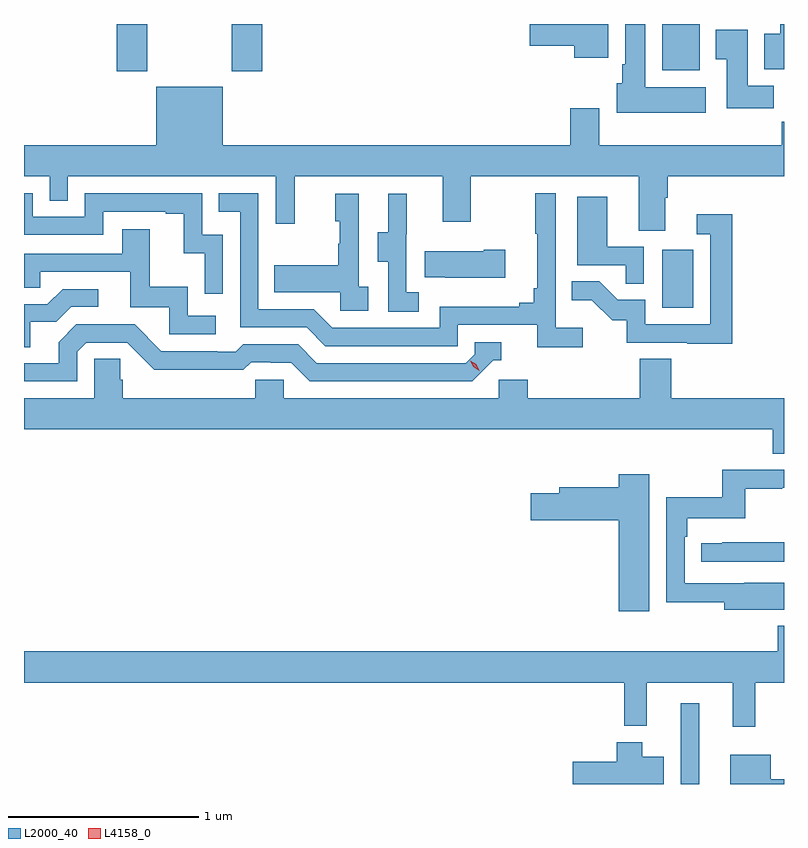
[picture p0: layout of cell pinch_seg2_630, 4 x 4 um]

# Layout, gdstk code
import gdstk
lib = gdstk.Library(unit=1e-6, precision=1e-09)
def R(c, l, rs):  # rectangles x0, y0, x1, y1
    for r in rs: c.add(gdstk.rectangle(r[:2], r[2:], *l))
def P(c, l, *ps):  # polygons
    for p in ps: c.add(gdstk.Polygon(p, *l))
L2000_40 = (2000, 40)
L4158_0 = (4158, 0)

pinch_seg2_630 = lib.new_cell('pinch_seg2_630')
R(pinch_seg2_630, L2000_40, [(1019.937,600.482,1020.034,600.907), (1019.84,602.988,1020.004,603.295), (1016.969,604.233,1017.129,604.482), (1017.574,604.233,1017.734,604.482), (1019.84,604.238,1020.037,604.48)])
P(pinch_seg2_630, L2000_40, [(1019.557,604.482),(1019.144,604.482),(1019.144,604.367),(1019.378,604.367),(1019.378,604.304),(1019.557,604.304)],
  [(1020.481,604.482),(1020.461,604.482),(1020.461,604.432),(1020.377,604.432),(1020.377,604.244),(1020.481,604.244)],
  [(1020.07,604.15),(1019.752,604.15),(1019.752,604.482),(1019.645,604.482),(1019.645,604.27),(1019.63,604.27),(1019.63,604.17),(1019.6,604.17),(1019.6,604.016),(1020.07,604.016)],
  [(1020.428,604.156),(1020.289,604.156),(1020.289,604.453),(1020.122,604.453),(1020.122,604.297),(1020.179,604.297),(1020.179,604.038),(1020.428,604.038)],
  [(1019.857,603.568),(1019.87,603.568),(1019.87,603.68),(1020.481,603.68),(1020.481,603.968),(1020.469,603.968),(1020.469,603.844),(1019.509,603.844),(1019.509,604.039),(1019.357,604.039),(1019.357,603.844),(1017.526,603.844),(1017.526,604.153),(1017.176,604.153),(1017.176,603.844),(1016.481,603.844),(1016.481,603.68),(1016.616,603.68),(1016.616,603.553),(1016.712,603.553),(1016.712,603.68),(1017.807,603.68),(1017.807,603.432),(1017.905,603.432),(1017.905,603.68),(1018.685,603.68),(1018.685,603.441),(1018.833,603.441),(1018.833,603.68),(1019.717,603.68),(1019.717,603.394),(1019.857,603.394)],
  [(1019.422,602.884),(1019.28,602.884),(1019.28,603.592),(1019.172,603.592),(1019.172,603.379),(1019.183,603.379),(1019.183,603.091),(1019.164,603.091),(1019.164,603.014),(1019.087,603.014),(1019.087,602.995),(1018.668,602.995),(1018.668,602.883),(1018.104,602.883),(1018.005,602.982),(1017.714,602.982),(1017.714,603.591),(1017.505,603.591),(1017.505,603.495),(1017.618,603.495),(1017.618,602.886),(1017.968,602.886),(1018.067,602.787),(1018.764,602.787),(1018.764,602.898),(1019.183,602.898),(1019.183,602.782),(1019.422,602.782)],
  [(1017.528,603.372),(1017.42,603.372),(1017.42,603.591),(1016.802,603.591),(1016.802,603.468),(1016.526,603.468),(1016.526,603.591),(1016.481,603.591),(1016.481,603.372),(1016.898,603.372),(1016.898,603.495),(1017.227,603.495),(1017.227,603.483),(1017.323,603.483),(1017.323,603.275),(1017.432,603.275),(1017.432,603.063),(1017.528,603.063)],
  [(1018.558,603.071),(1018.494,603.071),(1018.494,603.375),(1018.496,603.375),(1018.496,603.589),(1018.397,603.589),(1018.397,603.387),(1018.343,603.387),(1018.343,603.232),(1018.398,603.232),(1018.398,602.968),(1018.558,602.968)],
  [(1018.294,603.098),(1018.242,603.098),(1018.242,603.589),(1018.118,603.589),(1018.118,603.444),(1018.144,603.444),(1018.144,603.326),(1018.134,603.326),(1018.134,603.211),(1017.799,603.211),(1017.799,603.071),(1018.146,603.071),(1018.146,602.973),(1018.294,602.973)],
  [(1019.742,603.309),(1019.551,603.309),(1019.551,603.574),(1019.393,603.574),(1019.393,603.213),(1019.647,603.213),(1019.647,603.115),(1019.742,603.115)],
  [(1020.209,603.481),(1020.021,603.481),(1020.021,603.375),(1020.093,603.375),(1020.093,602.901),(1019.751,602.901),(1019.751,603.03),(1019.607,603.03),(1019.509,603.128),(1019.365,603.128),(1019.365,603.029),(1019.469,603.029),(1019.576,602.922),(1019.653,602.922),(1019.653,602.805),(1019.971,602.805),(1019.971,602.8),(1020.209,602.8)],
  [(1017.49,602.946),(1017.342,602.946),(1017.342,603.1),(1017.143,603.1),(1017.143,603.403),(1016.999,603.403),(1016.999,603.273),(1016.481,603.273),(1016.481,603.093),(1016.567,603.093),(1016.567,603.177),(1017.041,603.177),(1017.041,602.991),(1017.246,602.991),(1017.246,602.85),(1017.49,602.85)],
  [(1019.014,603.294),(1018.901,603.294),(1018.901,603.286),(1018.591,603.286),(1018.591,603.149),(1018.699,603.149),(1018.699,603.146),(1019.014,603.146)],
  [(1016.515,602.914),(1016.65,602.914),(1016.73,602.994),(1016.872,602.994),(1016.872,603.087),(1016.684,603.087),(1016.603,603.006),(1016.481,603.006),(1016.481,602.782),(1016.515,602.782)],
  [(1016.76,602.757),(1016.808,602.805),(1017.024,602.805),(1017.166,602.663),(1017.402,602.663),(1017.402,602.661),(1017.635,602.661),(1017.677,602.703),(1017.78,602.703),(1017.78,602.7),(1017.887,602.7),(1017.986,602.601),(1018.839,602.601),(1018.95,602.712),(1018.993,602.712),(1018.993,602.808),(1018.854,602.808),(1018.854,602.745),(1018.806,602.697),(1018.023,602.697),(1017.924,602.796),(1017.635,602.796),(1017.596,602.757),(1017.497,602.757),(1017.497,602.76),(1017.204,602.76),(1017.063,602.901),(1016.757,602.901),(1016.663,602.807),(1016.663,602.697),(1016.481,602.697),(1016.481,602.601),(1016.76,602.601)],
  [(1020.481,602.512),(1019.888,602.512),(1019.888,602.72),(1019.723,602.72),(1019.723,602.512),(1019.132,602.512),(1019.132,602.61),(1018.98,602.61),(1018.98,602.512),(1017.849,602.512),(1017.849,602.61),(1017.699,602.61),(1017.699,602.512),(1017.002,602.512),(1017.002,602.61),(1016.987,602.61),(1016.987,602.72),(1016.85,602.72),(1016.85,602.512),(1016.481,602.512),(1016.481,602.348),(1020.421,602.348),(1020.421,602.221),(1020.481,602.221)],
  [(1020.481,601.54),(1020.271,601.54),(1020.271,601.539),(1019.958,601.539),(1019.958,601.784),(1019.972,601.784),(1019.972,601.88),(1020.277,601.88),(1020.277,602.035),(1020.473,602.035),(1020.473,602.04),(1020.481,602.04),(1020.481,602.136),(1020.156,602.136),(1020.156,601.99),(1019.862,601.99),(1019.862,601.438),(1020.167,601.438),(1020.167,601.4),(1020.481,601.4)],
  [(1019.773,602.113),(1019.612,602.113),(1019.612,602.043),(1019.297,602.043),(1019.297,602.013),(1019.148,602.013),(1019.148,601.871),(1019.612,601.871),(1019.612,601.392),(1019.773,601.392)],
  [(1020.481,601.754),(1020.157,601.754),(1020.157,601.749),(1020.045,601.749),(1020.045,601.653),(1020.481,601.653)],
  [(1020.329,601.016),(1020.481,601.016),(1020.481,601.315),(1020.449,601.315),(1020.449,601.18),(1016.481,601.18),(1016.481,601.016),(1019.641,601.016),(1019.641,600.788),(1019.759,600.788),(1019.759,601.016),(1020.212,601.016),(1020.212,600.783),(1020.329,600.783)],
  [(1019.848,600.625),(1019.734,600.625),(1019.734,600.703),(1019.6,600.703),(1019.6,600.6),(1019.37,600.6),(1019.37,600.482),(1019.848,600.482)],
  [(1020.481,600.506),(1020.412,600.506),(1020.412,600.637),(1020.197,600.637),(1020.197,600.482),(1020.481,600.482)])
P(pinch_seg2_630, L4158_0, [(1018.876,602.658),(1018.845,602.677),(1018.829,602.71),(1018.829,602.71),(1018.829,602.71),(1018.86,602.691),(1018.876,602.658),(1018.876,602.658)])

lib.write_gds('pinch_seg2_630.gds')
